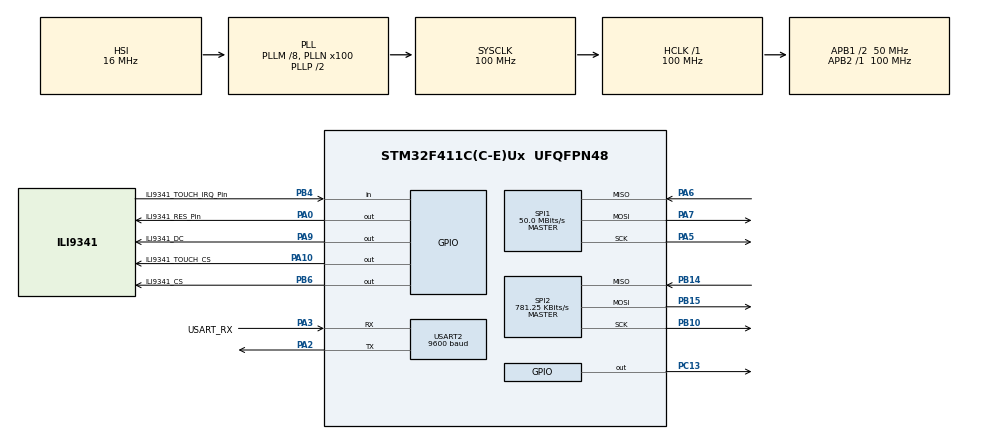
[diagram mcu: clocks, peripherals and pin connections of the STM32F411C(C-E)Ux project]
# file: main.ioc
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Dma.Request0=SPI1_TX
Dma.Request1=SPI1_RX
Dma.SPI1_RX.1.Direction=DMA_PERIPH_TO_MEMORY
Dma.SPI1_RX.1.FIFOMode=DMA_FIFOMODE_DISABLE
Dma.SPI1_RX.1.Instance=DMA2_Stream0
Dma.SPI1_RX.1.MemDataAlignment=DMA_MDATAALIGN_BYTE
Dma.SPI1_RX.1.MemInc=DMA_MINC_ENABLE
Dma.SPI1_RX.1.Mode=DMA_NORMAL
Dma.SPI1_RX.1.PeriphDataAlignment=DMA_PDATAALIGN_BYTE
Dma.SPI1_RX.1.PeriphInc=DMA_PINC_DISABLE
Dma.SPI1_RX.1.Priority=DMA_PRIORITY_LOW
Dma.SPI1_TX.0.Direction=DMA_MEMORY_TO_PERIPH
Dma.SPI1_TX.0.FIFOMode=DMA_FIFOMODE_DISABLE
Dma.SPI1_TX.0.Instance=DMA2_Stream3
Dma.SPI1_TX.0.MemDataAlignment=DMA_MDATAALIGN_BYTE
Dma.SPI1_TX.0.MemInc=DMA_MINC_ENABLE
Dma.SPI1_TX.0.Mode=DMA_NORMAL
Dma.SPI1_TX.0.PeriphDataAlignment=DMA_PDATAALIGN_BYTE
Dma.SPI1_TX.0.PeriphInc=DMA_PINC_DISABLE
Dma.SPI1_TX.0.Priority=DMA_PRIORITY_LOW
FREERTOS.Mutexes01=lv_timer_handler_mutex,Dynamic,NULL;myMutex02,Dynamic,NULL
FREERTOS.Tasks01=defaultTask,16,512,StartDefaultTask,Default,NULL,Dynamic,NULL,NULL;lvgl_task_1,24,512,StartTask02,Default,NULL,Dynamic,NULL,NULL;lvgl_task_2,25,512,StartTask03,Default,NULL,Dynamic,NULL,NULL;lvgl_task_3,24,512,StartTask04,Default,NULL,Dynamic,NULL,NULL
FREERTOS.configUSE_NEWLIB_REENTRANT=0
FREERTOS.configUSE_TICK_HOOK=1
Mcu.Family=STM32F4
Mcu.Name=STM32F411C(C-E)Ux
Mcu.Package=UFQFPN48
NVIC.DMA2_Stream0_IRQn=true\:6\:0\:true\:false\:true\:true\:false\:true\:true
NVIC.DMA2_Stream3_IRQn=true\:6\:0\:true\:false\:true\:true\:false\:true\:true
NVIC.PriorityGroup=NVIC_PRIORITYGROUP_4
NVIC.SPI1_IRQn=true\:5\:0\:false\:false\:true\:true\:true\:true\:true
NVIC.SPI2_IRQn=true\:5\:0\:false\:false\:true\:true\:true\:true\:true
NVIC.TIM1_UP_TIM10_IRQn=true\:15\:0\:true\:false\:true\:false\:true\:true\:true
NVIC.TimeBase=TIM1_UP_TIM10_IRQn
NVIC.TimeBaseIP=TIM1
PA0-WKUP.GPIO_Label=ILI9341_RES_Pin
PA0-WKUP.Signal=GPIO_Output
PA10.GPIO_Label=ILI9341_TOUCH_CS
PA10.Signal=GPIO_Output
PA2.Mode=Asynchronous
PA2.Signal=USART2_TX
PA3.GPIO_Label=USART_RX
PA3.Mode=Asynchronous
PA3.Signal=USART2_RX
PA5.Mode=Full_Duplex_Master
PA5.Signal=SPI1_SCK
PA6.Mode=Full_Duplex_Master
PA6.Signal=SPI1_MISO
PA7.Mode=Full_Duplex_Master
PA7.Signal=SPI1_MOSI
PA9.GPIO_Label=ILI9341_DC
PA9.Signal=GPIO_Output
PB10.Mode=Full_Duplex_Master
PB10.Signal=SPI2_SCK
PB14.Mode=Full_Duplex_Master
PB14.Signal=SPI2_MISO
PB15.Mode=Full_Duplex_Master
PB15.Signal=SPI2_MOSI
PB4.GPIO_Label=ILI9341_TOUCH_IRQ_Pin
PB4.GPIO_PuPd=GPIO_PULLUP
PB4.Signal=GPIO_Input
PB6.GPIO_Label=ILI9341_CS
PB6.Signal=GPIO_Output
PC13-ANTI_TAMP.GPIO_PuPd=GPIO_PULLDOWN
PC13-ANTI_TAMP.Signal=GPIO_Output
ProjectManager.HeapSize=0x2000
ProjectManager.StackSize=0x4000
ProjectManager.TargetToolchain=MDK-ARM V5.32
RCC.48MHZClocksFreq_Value=50000000
RCC.AHBFreq_Value=100000000
RCC.APB1CLKDivider=RCC_HCLK_DIV2
RCC.APB1Freq_Value=50000000
RCC.APB1TimFreq_Value=100000000
RCC.APB2Freq_Value=100000000
RCC.APB2TimFreq_Value=100000000
RCC.CortexFreq_Value=100000000
RCC.FLatency-AdvancedSettings=FLASH_LATENCY_3
RCC.HCLKFreq_Value=100000000
RCC.HSE_VALUE=8000000
RCC.HSI_VALUE=16000000
RCC.LSE_VALUE=32768
RCC.PLLM=8
RCC.PLLN=100
RCC.SYSCLKFreq_VALUE=100000000
RCC.SYSCLKSource=RCC_SYSCLKSOURCE_PLLCLK
RCC.VCOOutputFreq_Value=200000000
SPI1.BaudRatePrescaler=SPI_BAUDRATEPRESCALER_2
SPI1.CalculateBaudRate=50.0 MBits/s
SPI1.DataSize=SPI_DATASIZE_8BIT
SPI1.Direction=SPI_DIRECTION_2LINES
SPI1.Mode=SPI_MODE_MASTER
SPI1.VirtualType=VM_MASTER
SPI2.BaudRatePrescaler=SPI_BAUDRATEPRESCALER_64
SPI2.CalculateBaudRate=781.25 KBits/s
SPI2.Direction=SPI_DIRECTION_2LINES
SPI2.Mode=SPI_MODE_MASTER
SPI2.VirtualType=VM_MASTER
TIM10.AutoReloadPreload=TIM_AUTORELOAD_PRELOAD_ENABLE
TIM10.Period=100-1
TIM10.Prescaler=1000-1
USART2.BaudRate=9600
USART2.VirtualMode=VM_ASYNC
VP_FREERTOS_VS_CMSIS_V2.Mode=CMSIS_V2
VP_SYS_VS_tim1.Mode=TIM1
VP_TIM10_VS_ClockSourceINT.Mode=Enable_Timer
board=NUCLEO-F411RE

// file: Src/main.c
/* USER CODE BEGIN Header */
/**
  ******************************************************************************
  * @file           : main.c
  * @brief          : Main program body
  ******************************************************************************
  * @attention
  *
  * Copyright (c) 2024 STMicroelectronics.
  * All rights reserved.
  *
  * This software is licensed under terms that can be found in the LICENSE file
  * in the root directory of this software component.
  * If no LICENSE file comes with this software, it is provided AS-IS.
  *
  ******************************************************************************
  */
/* USER CODE END Header */
#include "main.h"
#include "cmsis_os.h"
#include "dma.h"
#include "spi.h"
#include "tim.h"
#include "usart.h"
#include "gpio.h"

/* USER CODE BEGIN Includes */
/* vim: set ai et ts=4 sw=4: */
#include <string.h>
#include <stdarg.h>
#include "ili9341.h"
#include "ili9341_touch.h"
#include "fonts.h"
#include "testimg.h"
#include "lvgl.h"
#include "lv_port_indev_template.h"
#include "lv_port_disp_template.h"
#include "lv_demo_benchmark.h"

/* USER CODE END Includes */

/* USER CODE BEGIN PV */
/* Private variables ---------------------------------------------------------*/

/* USER CODE END PV */

void SystemClock_Config(void);
void MX_FREERTOS_Init(void);
/* USER CODE BEGIN PFP */
/* Private function prototypes -----------------------------------------------*/

/* USER CODE END PFP */

/* USER CODE BEGIN 0 */

void UART_Printf(const char* fmt, ...) {
    char buff[256];
    va_list args;
    va_start(args, fmt);
    //vsnprintf(buff, sizeof(buff), fmt, args);
    HAL_UART_Transmit(&huart2, (uint8_t*)buff, strlen(buff),
                      HAL_MAX_DELAY);
    va_end(args);
}

void init() {
    ILI9341_Unselect();
    ILI9341_TouchUnselect();
    ILI9341_Init();
}

void touch() {

    ILI9341_FillScreen(ILI9341_BLACK);
		//ILI9341_WriteString(0,0, "cc",Font_7x10, ILI9341_BLACK,ILI9341_WHITE);
    int npoints = 0;
		uint16_t x, y;
    while(1/*npoints < 10000*/) {

        if(ILI9341_TouchPressed()){
						ILI9341_GetTouch(&x,&y);
            ILI9341_DrawPixel(x, y, ILI9341_WHITE);

        }
    }
}

/* USER CODE END 0 */

int main(void)
{

  /* MCU Configuration--------------------------------------------------------*/

  /* Reset of all peripherals, Initializes the Flash interface and the Systick. */
  HAL_Init();

  /* Configure the system clock */
  SystemClock_Config();

  /* Initialize all configured peripherals */
  MX_GPIO_Init();
  MX_DMA_Init();
  MX_SPI1_Init();
  MX_USART2_UART_Init();
  MX_SPI2_Init();
  MX_TIM10_Init();
  /* USER CODE BEGIN 2 */
	HAL_TIM_Base_Start_IT(&htim10);
	//HAL_GPIO_WritePin(GPIOC,GPIO_PIN_13,GPIO_PIN_SET);
  lv_init();
	lv_port_disp_init();
	lv_port_indev_init();

	//lv_demo_stress();
	//init();
	//touch();

  /* USER CODE END 2 */

  /* Init scheduler */
  osKernelInitialize();

  /* Call init function for freertos objects (in cmsis_os2.c) */
  MX_FREERTOS_Init();

  /* Start scheduler */
  osKernelStart();

  /* We should never get here as control is now taken by the scheduler */

  /* Infinite loop */
  while (1)
  {

  }
}

void SystemClock_Config(void)
{
  RCC_OscInitTypeDef RCC_OscInitStruct = {0};
  RCC_ClkInitTypeDef RCC_ClkInitStruct = {0};

  /** Configure the main internal regulator output voltage
  */
  __HAL_RCC_PWR_CLK_ENABLE();
  __HAL_PWR_VOLTAGESCALING_CONFIG(PWR_REGULATOR_VOLTAGE_SCALE1);

  /** Initializes the RCC Oscillators according to the specified parameters
  * in the RCC_OscInitTypeDef structure.
  */
  RCC_OscInitStruct.OscillatorType = RCC_OSCILLATORTYPE_HSI;
  RCC_OscInitStruct.HSIState = RCC_HSI_ON;
  RCC_OscInitStruct.HSICalibrationValue = RCC_HSICALIBRATION_DEFAULT;
  RCC_OscInitStruct.PLL.PLLState = RCC_PLL_ON;
  RCC_OscInitStruct.PLL.PLLSource = RCC_PLLSOURCE_HSI;
  RCC_OscInitStruct.PLL.PLLM = 8;
  RCC_OscInitStruct.PLL.PLLN = 100;
  RCC_OscInitStruct.PLL.PLLP = RCC_PLLP_DIV2;
  RCC_OscInitStruct.PLL.PLLQ = 4;
  if (HAL_RCC_OscConfig(&RCC_OscInitStruct) != HAL_OK)
  {
    Error_Handler();
  }

  /** Initializes the CPU, AHB and APB buses clocks
  */
  RCC_ClkInitStruct.ClockType = RCC_CLOCKTYPE_HCLK|RCC_CLOCKTYPE_SYSCLK
                              |RCC_CLOCKTYPE_PCLK1|RCC_CLOCKTYPE_PCLK2;
  RCC_ClkInitStruct.SYSCLKSource = RCC_SYSCLKSOURCE_PLLCLK;
  RCC_ClkInitStruct.AHBCLKDivider = RCC_SYSCLK_DIV1;
  RCC_ClkInitStruct.APB1CLKDivider = RCC_HCLK_DIV2;
  RCC_ClkInitStruct.APB2CLKDivider = RCC_HCLK_DIV1;

  if (HAL_RCC_ClockConfig(&RCC_ClkInitStruct, FLASH_LATENCY_3) != HAL_OK)
  {
    Error_Handler();
  }
}

void HAL_TIM_PeriodElapsedCallback(TIM_HandleTypeDef *htim)
{
  if (htim->Instance == TIM1) {
    HAL_IncTick();
  }
  /* USER CODE BEGIN Callback 1 */
	if (htim == (&htim10))
   {

			//lv_tick_inc(1);

   }
  /* USER CODE END Callback 1 */
}

void Error_Handler(void)
{
  while(1)
  {
  }
}

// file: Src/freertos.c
/* USER CODE BEGIN Header */
/**
  ******************************************************************************
  * File Name          : freertos.c
  * Description        : Code for freertos applications
  ******************************************************************************
  * @attention
  *
  * Copyright (c) 2024 STMicroelectronics.
  * All rights reserved.
  *
  * This software is licensed under terms that can be found in the LICENSE file
  * in the root directory of this software component.
  * If no LICENSE file comes with this software, it is provided AS-IS.
  *
  ******************************************************************************
  */
/* USER CODE END Header */

#include "FreeRTOS.h"
#include "task.h"
#include "main.h"
#include "cmsis_os.h"

/* USER CODE BEGIN Includes */
#include "lvgl.h"
#include "lv_demo_benchmark.h"
/* USER CODE END Includes */

/* USER CODE BEGIN Variables */
uint16_t n=0;

/* USER CODE END Variables */
/* Definitions for defaultTask */
osThreadId_t defaultTaskHandle;
const osThreadAttr_t defaultTask_attributes = {
  .name = "defaultTask",
  .stack_size = 512 * 4,
  .priority = (osPriority_t) osPriorityBelowNormal,
};
/* Definitions for lvgl_task_1 */
osThreadId_t lvgl_task_1Handle;
const osThreadAttr_t lvgl_task_1_attributes = {
  .name = "lvgl_task_1",
  .stack_size = 512 * 4,
  .priority = (osPriority_t) osPriorityNormal,
};
/* Definitions for lvgl_task_2 */
osThreadId_t lvgl_task_2Handle;
const osThreadAttr_t lvgl_task_2_attributes = {
  .name = "lvgl_task_2",
  .stack_size = 512 * 4,
  .priority = (osPriority_t) osPriorityNormal1,
};
/* Definitions for lvgl_task_3 */
osThreadId_t lvgl_task_3Handle;
const osThreadAttr_t lvgl_task_3_attributes = {
  .name = "lvgl_task_3",
  .stack_size = 512 * 4,
  .priority = (osPriority_t) osPriorityNormal,
};
/* Definitions for lv_timer_handler_mutex */
osMutexId_t lv_timer_handler_mutexHandle;
const osMutexAttr_t lv_timer_handler_mutex_attributes = {
  .name = "lv_timer_handler_mutex"
};
/* Definitions for myMutex02 */
osMutexId_t myMutex02Handle;
const osMutexAttr_t myMutex02_attributes = {
  .name = "myMutex02"
};

void StartDefaultTask(void *argument);
void StartTask02(void *argument);
void StartTask03(void *argument);
void StartTask04(void *argument);

void MX_FREERTOS_Init(void); /* (MISRA C 2004 rule 8.1) */

/* Hook prototypes */
void vApplicationTickHook(void);

/* USER CODE BEGIN 3 */
void vApplicationTickHook( void )
{
   /* This function will be called by each tick interrupt if
   configUSE_TICK_HOOK is set to 1 in FreeRTOSConfig.h. User code can be
   added here, but the tick hook is called from an interrupt context, so
   code must not attempt to block, and only the interrupt safe FreeRTOS API
   functions can be used (those that end in FromISR()). */
	lv_tick_inc(1);
}
/* USER CODE END 3 */

void MX_FREERTOS_Init(void) {
  /* Create the mutex(es) */
  /* creation of lv_timer_handler_mutex */
  lv_timer_handler_mutexHandle = osMutexNew(&lv_timer_handler_mutex_attributes);

  /* creation of myMutex02 */
  myMutex02Handle = osMutexNew(&myMutex02_attributes);

  /* Create the thread(s) */
  /* creation of defaultTask */
  defaultTaskHandle = osThreadNew(StartDefaultTask, NULL, &defaultTask_attributes);

  /* creation of lvgl_task_1 */
  lvgl_task_1Handle = osThreadNew(StartTask02, NULL, &lvgl_task_1_attributes);

  /* creation of lvgl_task_2 */
  lvgl_task_2Handle = osThreadNew(StartTask03, NULL, &lvgl_task_2_attributes);

  /* creation of lvgl_task_3 */
  lvgl_task_3Handle = osThreadNew(StartTask04, NULL, &lvgl_task_3_attributes);

}

void StartDefaultTask(void *argument)
{
  /* USER CODE BEGIN StartDefaultTask */
  /* Infinite loop */
  for(;;)
  {
		osMutexAcquire(lv_timer_handler_mutexHandle, portMAX_DELAY);
		lv_timer_handler();
		osMutexRelease(lv_timer_handler_mutexHandle);
		osDelayUntil(5);

  }
  /* USER CODE END StartDefaultTask */
}

void StartTask02(void *argument)
{
  /* USER CODE BEGIN StartTask02 */

	osMutexAcquire(myMutex02Handle, portMAX_DELAY);

	lv_demo_benchmark();
	osMutexRelease(myMutex02Handle);
  /* Infinite loop */
  for(;;)
  {
		osMutexAcquire(myMutex02Handle, portMAX_DELAY);

		osMutexRelease(myMutex02Handle);
   osDelay(100);
  }
  /* USER CODE END StartTask02 */
}

void StartTask03(void *argument)
{
  /* USER CODE BEGIN StartTask03 */
  /* Infinite loop */
	osMutexAcquire(myMutex02Handle, portMAX_DELAY);

	osMutexRelease(myMutex02Handle);
  for(;;)
  {
		osMutexAcquire(myMutex02Handle, portMAX_DELAY);

		osMutexRelease(myMutex02Handle);
    osDelay(100);
  }
  /* USER CODE END StartTask03 */
}

void StartTask04(void *argument)
{
  /* USER CODE BEGIN StartTask04 */
  /* Infinite loop */
	osMutexAcquire(myMutex02Handle, portMAX_DELAY);

	osMutexRelease(myMutex02Handle);
  for(;;)
  {
		osMutexAcquire(myMutex02Handle, portMAX_DELAY);

		osMutexRelease(myMutex02Handle);
    osDelay(100);
  }
  /* USER CODE END StartTask04 */
}
